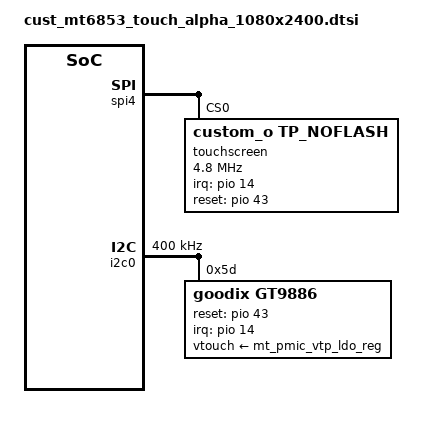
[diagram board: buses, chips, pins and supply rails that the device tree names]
/*
 * Copyright (c) 2019 MediaTek Inc.
 *
 * This program is free software; you can redistribute it and/or modify
 * it under the terms of the GNU General Public License version 2 as
 * published by the Free Software Foundation.
 *
 * This program is distributed in the hope that it will be useful,
 * but WITHOUT ANY WARRANTY; without even the implied warranty of
 * MERCHANTABILITY or FITNESS FOR A PARTICULAR PURPOSE.  See the
 * GNU General Public License for more details.
 */

/* TOUCH start */
&spi4 {
	status = "okay";
	#address-cells = <1>;
	#size-cells = <0>;
	pinctrl-names = "default", "gt9896s_int_active",
		"gt9896s_reset_active", "gt9896s_int_suspend",
		"gt9896s_reset_suspend", "gt9896s_spi_mode";
	pinctrl-0 = <&ctp_gt9896s_pins_default>;
	pinctrl-1 = <&ctp_gt9896s_int_active>;
	pinctrl-2 = <&ctp_gt9896s_reset_active>;
	pinctrl-3 = <&ctp_gt9896s_int_suspend>;
	pinctrl-4 = <&ctp_gt9896s_reset_suspend>;
	pinctrl-5 = <&ctp_gt9896s_spi_mode>;

	touchscreen@0 {
		compatible = "custom_o,tp_noflash";
		reg = <0>;
		chip-name = "CUSTOM_O_TP_NOFLASH";
		status = "ok";

		spi-max-frequency = <4800000>;
		interrupt-parent = <&pio>;
		interrupts = <14 IRQ_TYPE_EDGE_FALLING 14 0>;
		irq-gpio = <&pio 14 0x2002>;
		reset-gpio = <&pio 43 0>;

		touchpanel,max-num-support = <10>;
		touchpanel,tx-rx-num = <18 36>;
		touchpanel,panel-coords = <1080 2400>;
		touchpanel,display-coords = <1080 2400>;
		touchpanel,touchmajor-limit = <0 54>;

		pinctrl-names = "default", "suspend";
		pinctrl-0 = <&ctp_gt9896s_int_active
				&ctp_gt9896s_reset_active
				&ctp_gt9896s_spi_mode>;
		pinctrl-1 = <&ctp_gt9896s_int_suspend
				&ctp_gt9896s_reset_suspend>;

		incell_screen;
		fw_edge_limit_support;
		black_gesture_support;
		charger_pump_support;
		headset_pump_support;
		esd_handle_support;
		black_gesture_test_support;
		game_switch_support;
		noflash_support;
		//lcd_trigger_load_tp_fw_support;
		smart_gesture_support;
		pressure_report_support;
		//fw_update_app_support;
		fw_update_in_probe_with_headfile;

		touchpanel,button-type = <4>;
	};
};

&i2c0 {
	clock-frequency = <400000>;
	pinctrl-names = "default", "ts_int_active",
		"ts_reset_active", "ts_int_suspend",
		"ts_reset_suspend", "ts_i2c_mode",
		"ts_eint_high";
	pinctrl-0 = <&ctp_pins_default>;
	pinctrl-1 = <&ctp_ts_int_active>;
	pinctrl-2 = <&ctp_ts_reset_active>;
	pinctrl-3 = <&ctp_ts_int_suspend>;
	pinctrl-4 = <&ctp_ts_reset_suspend>;
	pinctrl-5 = <&ctp_ts_i2c_mode>;
	pinctrl-6 = <&ctp_ts_int_as_gpio>;

	gt9886@5d {
		compatible = "goodix,gt9886";
		reg = <0x5d>;
		status = "ok";
		interrupt-parent = <&pio>;
		interrupts = <14 IRQ_TYPE_EDGE_FALLING 14 0>;
		vtouch-supply = <&mt_pmic_vtp_ldo_reg>;
		goodix,reset-gpio = <&pio 43 0x0>;
		goodix,irq-gpio = <&pio 14 0x0>;
		goodix,irq-flags = <2>; /* 1:rising, 2:falling;*/
		goodix,panel-max-id = <10>;
		goodix,panel-max-x = <1080>;
		goodix,panel-max-y = <2400>;
		goodix,panel-max-w = <256>;
		goodix,panel-max-p = <256>;
		goodix,input-max-x = <1080>;
		goodix,input-max-y = <2400>;
		goodix,panel-key-map = <158 172 217>; /*BACK,HOMEPAGE,SEARCH*/
		goodix,power-on-delay-us = <10000>; /*10ms*/
		goodix,power-off-delay-us = <5000>;
		goodix,firmware-version = "6885b0";
		goodix,config-version = "gt9885v1";
		/*goodix,swap-axis;*/
		/*goodix,x2x;*/
		/*goodix,y2y;*/
		goodix,pen-enable;
		goodix,key-of-pen = <331 332>;/*BTN_STYLUS, BTN_STYLUS2*/
		tpd-filter-enable = <0>;
		tpd-filter-pixel-density = <161>;
		tpd-filter-custom-prameters = <0 0 0 0 0 0 0 0 0 0 0 0>;
		tpd-filter-custom-speed = <0 0 0>;
	};

};

&pio {
	ctp_pins_default: eintdefault {
	};
	ctp_gt9896s_pins_default: pins_default {
	};
	ctp_ts_int_active: int_active {
		pins_cmd_dat {
			pinmux = <PINMUX_GPIO14__FUNC_GPIO14>;
			input-enable;
		};
	};
	ctp_ts_reset_active: reset_active {
		pins_cmd_dat {
			pinmux = <PINMUX_GPIO43__FUNC_GPIO43>;
			output-high;
		};
	};
	ctp_ts_int_suspend: int_suspend {
		pins_cmd_dat {
			pinmux = <PINMUX_GPIO14__FUNC_GPIO14>;
			output-low;
		};
	};
	ctp_ts_reset_suspend: reset_suspend {
		pins_cmd_dat {
			pinmux = <PINMUX_GPIO43__FUNC_GPIO43>;
			output-low;
		};
	};
	ctp_ts_i2c_mode: i2cmode_default {
		pins_cmd_dat {
			pinmux = <PINMUX_GPIO97__FUNC_SCL0>,
				<PINMUX_GPIO98__FUNC_SDA0>;
		};
	};
	ctp_ts_int_as_gpio: int_high {
		pins_cmd_dat {
			pinmux = <PINMUX_GPIO14__FUNC_GPIO14>;
			output-high;
		};
	};

	ctp_gt9896s_int_active: int1_active {
		pins_cmd_dat {
			pinmux = <PINMUX_GPIO14__FUNC_GPIO14>;
			input-enable;
		};
	};
	ctp_gt9896s_reset_active: reset1_active {
		pins_cmd_dat {
			pinmux = <PINMUX_GPIO15__FUNC_GPIO15>;
			output-high;
		};
	};
	ctp_gt9896s_int_suspend: int1_suspend {
		pins_cmd_dat {
			pinmux = <PINMUX_GPIO14__FUNC_GPIO14>;
			output-low;
		};
	};
	ctp_gt9896s_reset_suspend: reset1_suspend {
		pins_cmd_dat {
			pinmux = <PINMUX_GPIO15__FUNC_GPIO15>;
			output-low;
		};
	};
	ctp_gt9896s_spi_mode: spimode_default {
		pins_cmd_dat {
			pinmux = <PINMUX_GPIO12__FUNC_SPI4_MI>,
				<PINMUX_GPIO13__FUNC_SPI4_MO>,
				<PINMUX_GPIO97__FUNC_SPI4_CLK>,
				<PINMUX_GPIO98__FUNC_SPI4_CSB>;
			drive-strength = <4>;
		};
	};
};
/* TOUCH end */
